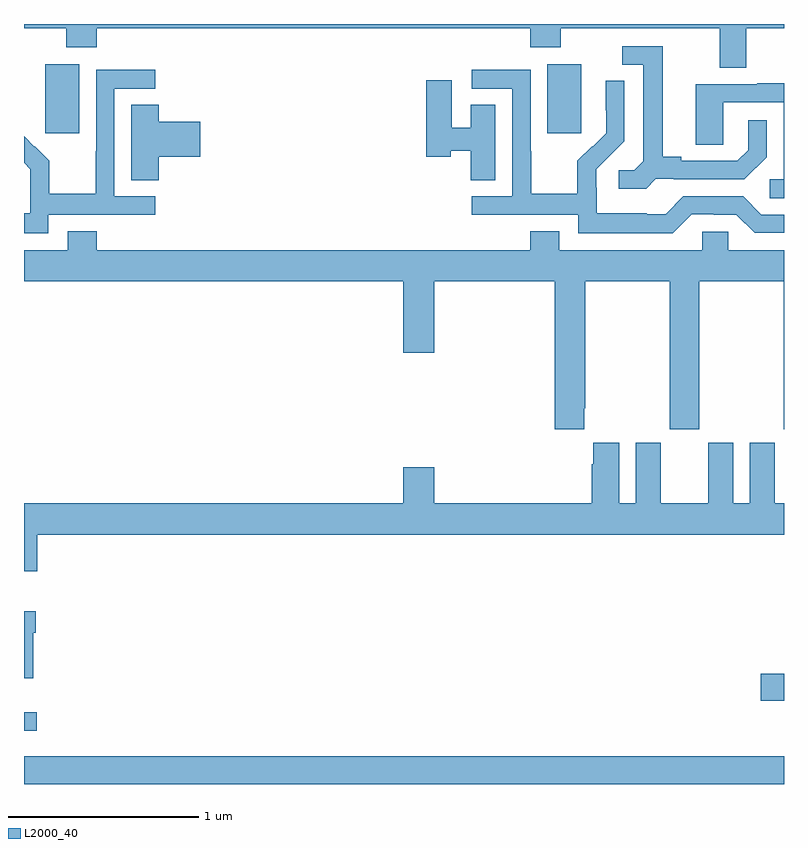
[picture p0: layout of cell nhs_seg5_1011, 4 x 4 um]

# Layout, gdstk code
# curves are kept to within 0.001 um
import gdstk
lib = gdstk.Library(unit=1e-6, precision=1e-09)
def R(c, l, rs):  # rectangles x0, y0, x1, y1
    for r in rs: c.add(gdstk.rectangle(r[:2], r[2:], *l))
def P(c, l, *ps):  # polygons
    for p in ps: c.add(gdstk.Polygon(p, *l))
L2000_40 = (2000, 40)

nhs_seg5_1011 = lib.new_cell('nhs_seg5_1011')
R(nhs_seg5_1011, L2000_40, [(175,836.799,179,836.944), (175,837.08,175.066,837.177), (178.878,837.238,179,837.38), (175.112,840.225,175.291,840.586), (177.755,840.225,177.934,840.586)])
P(nhs_seg5_1011, L2000_40, [(178.801,840.776),(179,840.776),(179,840.799),(175,840.799),(175,840.776),(175.222,840.776),(175.222,840.677),(175.382,840.677),(175.382,840.776),(177.665,840.776),(177.665,840.677),(177.825,840.677),(177.825,840.776),(178.661,840.776),(178.661,840.568),(178.801,840.568)],
  [(178.326,839.985),(178.42,839.985),(178.42,839.982),(178.792,839.982),(178.908,840.098),(178.908,840.292),(178.811,840.292),(178.811,840.135),(178.754,840.078),(178.459,840.078),(178.459,840.101),(178.363,840.101),(178.363,840.681),(178.149,840.681),(178.149,840.585),(178.259,840.585),(178.259,840.077),(178.212,840.03),(178.131,840.03),(178.131,839.933),(178.274,839.933)],
  [(178.515,839.799),(178.631,839.799),(178.631,839.796),(178.749,839.796),(178.845,839.7),(179,839.7),(179,839.796),(178.881,839.796),(178.785,839.892),(178.47,839.892),(178.377,839.799),(178.277,839.799),(178.277,839.803),(178.014,839.803),(178.014,839.937),(178.012,839.937),(178.012,840.034),(178.158,840.182),(178.158,840.5),(178.062,840.5),(178.062,840.346),(178.064,840.346),(178.064,840.224),(177.993,840.153),(177.99,840.156),(177.913,840.079),(177.913,839.905),(177.669,839.905),(177.669,840.128),(177.666,840.128),(177.666,840.558),(177.357,840.558),(177.357,840.459),(177.57,840.459),(177.57,839.892),(177.357,839.892),(177.357,839.796),(177.918,839.796),(177.918,839.699),(178.415,839.699)],
  [(175.128,839.796),(175.69,839.796),(175.69,839.892),(175.476,839.892),(175.476,840.459),(175.69,840.459),(175.69,840.558),(175.38,840.558),(175.38,840.128),(175.378,840.128),(175.378,839.905),(175.133,839.905),(175.133,840.079),(175.056,840.156),(175.053,840.153),(175,840.207),(175,840.068),(175.034,840.034),(175.034,839.937),(175.032,839.937),(175.032,839.803),(175,839.803),(175,839.699),(175.128,839.699)],
  [(177.481,840.374),(177.35,840.374),(177.35,840.253),(177.25,840.253),(177.25,840.502),(177.116,840.502),(177.116,840.101),(177.246,840.101),(177.246,840.131),(177.35,840.131),(177.35,839.977),(177.481,839.977)],
  [(179,840.487),(178.859,840.487),(178.859,840.483),(178.535,840.483),(178.535,840.163),(178.68,840.163),(178.68,840.387),(178.998,840.387),(178.998,839.982),(178.926,839.982),(178.926,839.881),(179,839.881)],
  [(175.709,840.101),(175.927,840.101),(175.927,840.284),(175.709,840.284),(175.709,840.374),(175.565,840.374),(175.565,839.977),(175.709,839.977)],
  [(177.949,838.777),(177.954,838.777),(177.954,839.444),(178.399,839.444),(178.399,838.665),(178.554,838.665),(178.554,839.444),(178.999,839.444),(178.999,838.665),(179,838.665),(179,839.608),(178.707,839.608),(178.707,839.706),(178.569,839.706),(178.569,839.608),(177.817,839.608),(177.817,839.707),(177.665,839.707),(177.665,839.608),(175.382,839.608),(175.382,839.707),(175.229,839.707),(175.229,839.608),(175,839.608),(175,839.444),(176.996,839.444),(176.996,839.07),(177.16,839.07),(177.16,839.444),(177.794,839.444),(177.794,838.665),(177.949,838.665)],
  [(175.07,838.112),(179,838.112),(179,838.276),(178.951,838.276),(178.951,838.594),(178.82,838.594),(178.82,838.276),(178.732,838.276),(178.732,838.594),(178.601,838.594),(178.601,838.276),(178.351,838.276),(178.351,838.594),(178.22,838.594),(178.22,838.276),(178.132,838.276),(178.132,838.594),(177.995,838.594),(177.995,838.481),(177.989,838.481),(177.989,838.276),(177.16,838.276),(177.16,838.465),(176.996,838.465),(176.996,838.276),(175,838.276),(175,837.918),(175.07,837.918)],
  [(175.048,837.596),(175.061,837.596),(175.061,837.709),(175,837.709),(175,837.356),(175.048,837.356)])

lib.write_gds('nhs_seg5_1011.gds')
